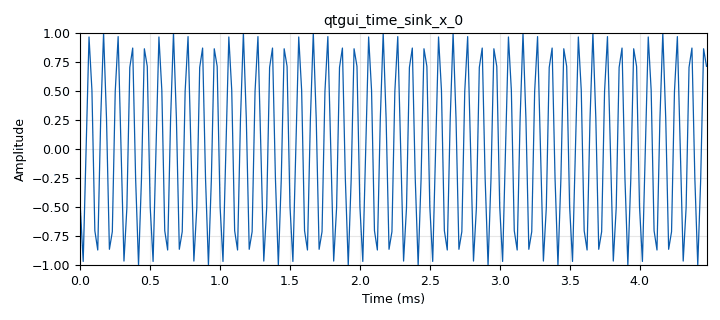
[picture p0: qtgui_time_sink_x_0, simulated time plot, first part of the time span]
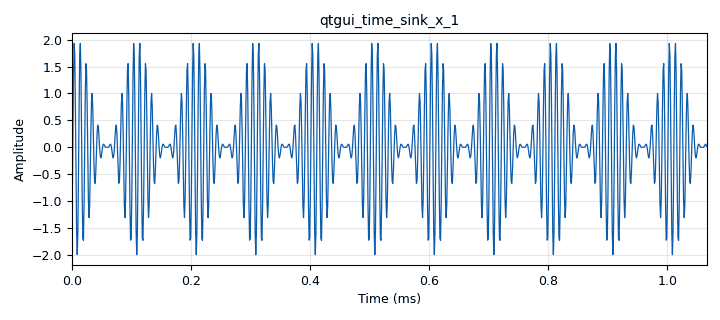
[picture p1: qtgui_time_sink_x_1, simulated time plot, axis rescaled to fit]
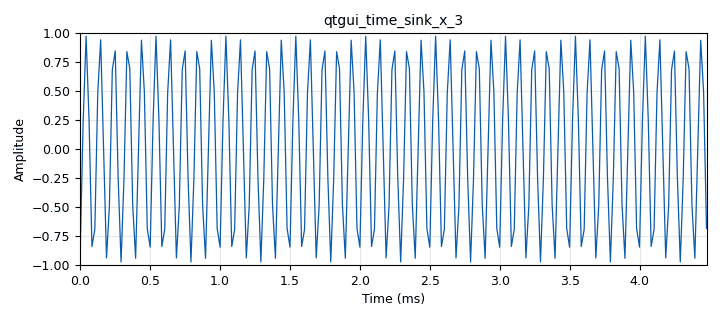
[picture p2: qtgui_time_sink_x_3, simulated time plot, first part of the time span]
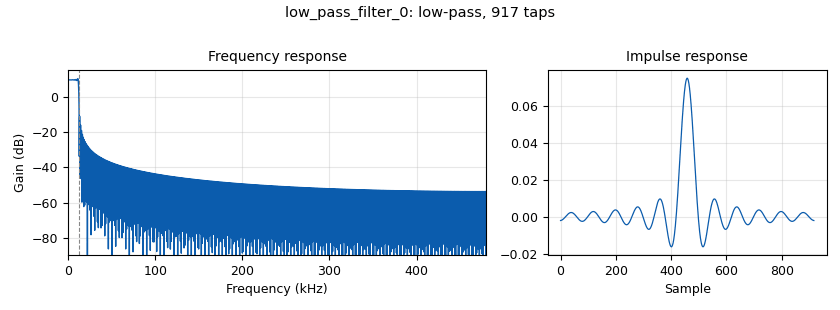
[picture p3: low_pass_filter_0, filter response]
<?xml version='1.0' encoding='utf-8'?>
<?grc format='1' created='3.7.13'?>
<flow_graph>
<block>
<key>options</key>
<param><key>id</key><value>top_block</value></param>
<param><key>generate_options</key><value>qt_gui</value></param>
</block>
<block>
<key>variable</key>
<param><key>id</key><value>samp_rate</value></param>
<param><key>value</key><value>48000</value></param>
</block>
<block>
<key>variable</key>
<param><key>id</key><value>samp_rate_0</value></param>
<param><key>value</key><value>960000</value></param>
</block>
<block>
<key>blocks_abs_xx</key>
<param><key>id</key><value>blocks_abs_xx_0</value></param>
<param><key>type</key><value>float</value></param>
</block>
<block>
<key>blocks_add_const_vxx</key>
<param><key>id</key><value>blocks_add_const_vxx_0</value></param>
<param><key>const</key><value>1</value></param>
<param><key>type</key><value>float</value></param>
</block>
<block>
<key>blocks_multiply_xx</key>
<param><key>id</key><value>blocks_multiply_xx_0</value></param>
<param><key>type</key><value>float</value></param>
</block>
<block>
<key>dc_blocker_xx</key>
<param><key>id</key><value>dc_blocker_xx_0</value></param>
<param><key>length</key><value>32</value></param>
<param><key>long_form</key><value>True</value></param>
<param><key>type</key><value>ff</value></param>
</block>
<block>
<key>low_pass_filter</key>
<param><key>id</key><value>low_pass_filter_0</value></param>
<param><key>cutoff_freq</key><value>12000</value></param>
<param><key>decim</key><value>1</value></param>
<param><key>type</key><value>fir_filter_fff</value></param>
<param><key>gain</key><value>3</value></param>
<param><key>samp_rate</key><value>samp_rate_0</value></param>
<param><key>width</key><value>1000</value></param>
<param><key>win</key><value>firdes.WIN_RECTANGULAR</value></param>
</block>
<block>
<key>analog_sig_source_x</key>
<param><key>id</key><value>message_signal</value></param>
<param><key>amp</key><value>1</value></param>
<param><key>freq</key><value>10000</value></param>
<param><key>offset</key><value>0</value></param>
<param><key>type</key><value>float</value></param>
<param><key>samp_rate</key><value>samp_rate</value></param>
<param><key>waveform</key><value>analog.GR_COS_WAVE</value></param>
</block>
<block>
<key>analog_sig_source_x</key>
<param><key>id</key><value>message_signal_0</value></param>
<param><key>amp</key><value>1</value></param>
<param><key>freq</key><value>100000</value></param>
<param><key>offset</key><value>0</value></param>
<param><key>type</key><value>float</value></param>
<param><key>samp_rate</key><value>samp_rate_0</value></param>
<param><key>waveform</key><value>analog.GR_COS_WAVE</value></param>
</block>
<block>
<key>qtgui_time_sink_x</key>
<param><key>id</key><value>qtgui_time_sink_x_0</value></param>
<param><key>gui_hint</key><value>tab@0</value></param>
<param><key>color1</key><value>"blue"</value></param>
<param><key>label1</key><value></value></param>
<param><key>size</key><value>1024</value></param>
<param><key>srate</key><value>samp_rate</value></param>
<param><key>type</key><value>float</value></param>
</block>
<block>
<key>qtgui_time_sink_x</key>
<param><key>id</key><value>qtgui_time_sink_x_1</value></param>
<param><key>gui_hint</key><value>tab@1</value></param>
<param><key>color1</key><value>"blue"</value></param>
<param><key>label1</key><value></value></param>
<param><key>size</key><value>1024</value></param>
<param><key>srate</key><value>samp_rate_0</value></param>
<param><key>type</key><value>float</value></param>
</block>
<block>
<key>qtgui_time_sink_x</key>
<param><key>id</key><value>qtgui_time_sink_x_3</value></param>
<param><key>gui_hint</key><value>tab@2</value></param>
<param><key>color1</key><value>"blue"</value></param>
<param><key>label1</key><value></value></param>
<param><key>size</key><value>1024</value></param>
<param><key>srate</key><value>samp_rate</value></param>
<param><key>type</key><value>float</value></param>
</block>
<block>
<key>rational_resampler_xxx</key>
<param><key>id</key><value>rational_resampler_xxx_0</value></param>
<param><key>decim</key><value>samp_rate</value></param>
<param><key>interp</key><value>samp_rate_0</value></param>
<param><key>taps</key><value></value></param>
<param><key>type</key><value>fff</value></param>
</block>
<block>
<key>rational_resampler_xxx</key>
<param><key>id</key><value>rational_resampler_xxx_1</value></param>
<param><key>decim</key><value>samp_rate_0</value></param>
<param><key>interp</key><value>samp_rate</value></param>
<param><key>taps</key><value></value></param>
<param><key>type</key><value>fff</value></param>
</block>
<block>
<key>qtgui_tab_widget</key>
<param><key>id</key><value>tab</value></param>
<param><key>label0</key><value>Message</value></param>
<param><key>label1</key><value>Modulated</value></param>
<param><key>label2</key><value>Demodulated</value></param>
<param><key>num_tabs</key><value>3</value></param>
</block>
<connection><source_block_id>blocks_abs_xx_0</source_block_id><sink_block_id>low_pass_filter_0</sink_block_id><source_key>0</source_key><sink_key>0</sink_key></connection>
<connection><source_block_id>blocks_add_const_vxx_0</source_block_id><sink_block_id>rational_resampler_xxx_0</sink_block_id><source_key>0</source_key><sink_key>0</sink_key></connection>
<connection><source_block_id>blocks_multiply_xx_0</source_block_id><sink_block_id>blocks_abs_xx_0</sink_block_id><source_key>0</source_key><sink_key>0</sink_key></connection>
<connection><source_block_id>blocks_multiply_xx_0</source_block_id><sink_block_id>qtgui_time_sink_x_1</sink_block_id><source_key>0</source_key><sink_key>0</sink_key></connection>
<connection><source_block_id>dc_blocker_xx_0</source_block_id><sink_block_id>rational_resampler_xxx_1</sink_block_id><source_key>0</source_key><sink_key>0</sink_key></connection>
<connection><source_block_id>low_pass_filter_0</source_block_id><sink_block_id>dc_blocker_xx_0</sink_block_id><source_key>0</source_key><sink_key>0</sink_key></connection>
<connection><source_block_id>message_signal</source_block_id><sink_block_id>blocks_add_const_vxx_0</sink_block_id><source_key>0</source_key><sink_key>0</sink_key></connection>
<connection><source_block_id>message_signal</source_block_id><sink_block_id>qtgui_time_sink_x_0</sink_block_id><source_key>0</source_key><sink_key>0</sink_key></connection>
<connection><source_block_id>message_signal_0</source_block_id><sink_block_id>blocks_multiply_xx_0</sink_block_id><source_key>0</source_key><sink_key>1</sink_key></connection>
<connection><source_block_id>rational_resampler_xxx_0</source_block_id><sink_block_id>blocks_multiply_xx_0</sink_block_id><source_key>0</source_key><sink_key>0</sink_key></connection>
<connection><source_block_id>rational_resampler_xxx_1</source_block_id><sink_block_id>qtgui_time_sink_x_3</sink_block_id><source_key>0</source_key><sink_key>0</sink_key></connection>
</flow_graph>
